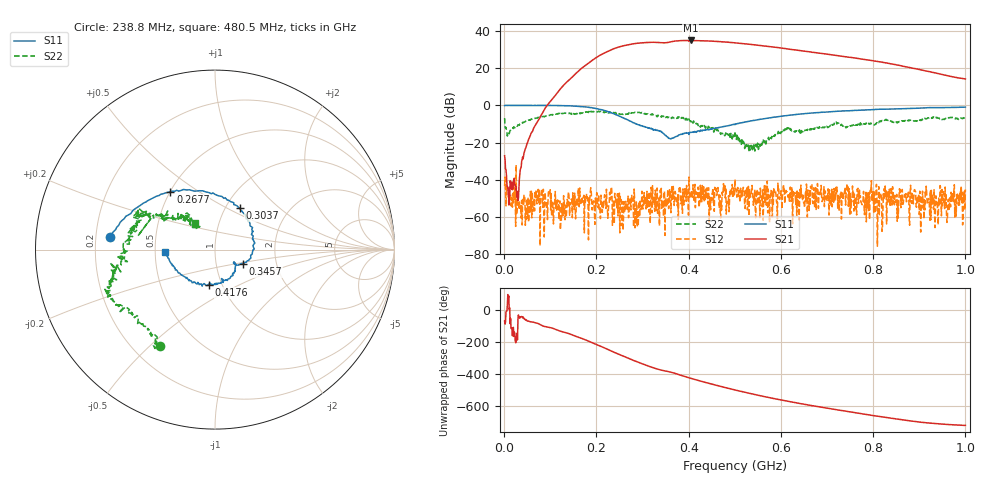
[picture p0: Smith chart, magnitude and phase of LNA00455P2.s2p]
! Created with skrf 1.9.0 (http://scikit-rf.org).
# Hz S RI R 50.0
!freq ReS11 ImS11 ReS21 ImS21 ReS12 ImS12 ReS22 ImS22
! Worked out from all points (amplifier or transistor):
!   1001 points, 1 MHz to 1 GHz, reference 50 ohm
!   highest |S21| = 35.0 dB at 404.6 MHz (marker M1)
!   |S21| within 3 dB of that: 256.6 MHz to 566.1 MHz (309.5 MHz wide, 75.2 % of centre)
!   unconditionally stable (mu >= 1): 233.5 MHz to 321.7 MHz; 321.7 MHz to 400.6 MHz; 400.7 MHz to end of sweep (the widest 3 of 45)
!   at 166.8 MHz: K = 1.42, MAG = 32.7 dB, |S12| = -53.3 dB
!   at 500.5 MHz: K = 1.19, MAG = 34.2 dB, |S12| = -39.9 dB
!   at 1 GHz: K = 2.50, MAG = 22.9 dB, |S12| = -45.2 dB
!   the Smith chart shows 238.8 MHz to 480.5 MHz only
!   S11 on the Smith chart (normalised r, x): 238.8 MHz: 0.26, +0.06; 267.7 MHz: 0.50, +0.39; 303.7 MHz: 1.16, +0.58; 345.7 MHz: 1.35, -0.23; 417.6 MHz: 0.87, -0.35; 480.5 MHz: 0.56, -0.02
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1000000  0.9868 0.0163  0.0165 -0.041  0.00131 -0.00663  0.3417 0.3028
1.08892e8  0.5304 -0.8424  -0.8036 -1.54  0.00121 0.00208  0.4223 -0.3753
1.67833e8  -0.2125 -0.9064  -9.963 -0.6021  -0.00259 -0.000251  0.0444 -0.6281
2.08792e8  -0.6525 -0.4216  -15.87 16.29  -8.45e-05 -0.000897  -0.2113 -0.6604
2.38762e8  -0.5847 0.0705  -3.134 33.83  0.000587 -0.000274  -0.308 -0.5363
2.67733e8  -0.2489 0.3227  21.59 36.83  0.00169 0.000997  -0.4887 -0.3505
2.83717e8  -0.0536 0.322  34.89 30.7  0.000359 -0.000356  -0.5984 -0.2634
3.03697e8  0.1371 0.2309  46.34 15.7  0.00291 0.00341  -0.5704 -0.155
3.34666e8  0.2076 -0.0193  48.41 -9.742  0.00112 0.00115  -0.5122 -0.0608
3.45655e8  0.1552 -0.0814  45.76 -15.97  -0.000388 0.000943  -0.5111 0.0337
3.72628e8  0.1147 -0.0908  42.73 -33.7  0.000337 0.00338  -0.4398 0.1639
4.04596e8  0.036 -0.1849  21.44 -51.82  -0.00187 0.00367  -0.328 0.1973
4.17583e8  -0.0353 -0.1957  11.3 -54.31  0.00284 0.00289  -0.2644 0.1735
4.46554e8  -0.1656 -0.1537  -10.48 -53.02  0.00198 -0.00188  -0.156 0.2038
4.8052e8  -0.2787 -0.0137  -30.09 -41.18  0.00172 0.00588  -0.1089 0.1469
5.005e8  -0.2877 0.0988  -37.67 -30.94  -0.00284 -0.00974  -0.1503 0.1033
5.4046e8  -0.2425 0.3099  -42 -9.637  0.00178 -0.00101  -0.0708 -0.00381
5.88412e8  -0.0526 0.483  -35.15 10.66  -0.00148 -0.00455  -0.1324 -0.0861
6.67333e8  0.3193 0.5374  -13.89 23.05  0.000212 -0.00757  -0.2355 -0.0497
7.53247e8  0.6252 0.3715  3.27 19.13  -0.00222 -0.00112  -0.2895 0.0105
8.34166e8  0.783 0.145  9.633 9.44  0.000716 -0.00347  -0.4053 0.0246
1e9  0.8137 -0.3844  5.154 -0.2898  -0.00546 0.000526  -0.2913 0.356
